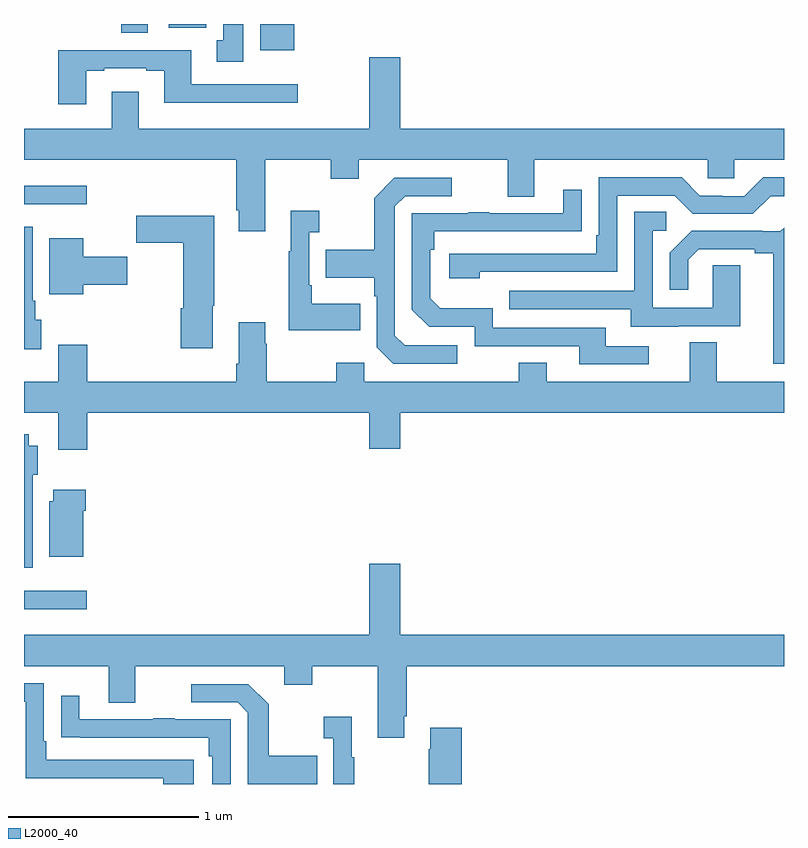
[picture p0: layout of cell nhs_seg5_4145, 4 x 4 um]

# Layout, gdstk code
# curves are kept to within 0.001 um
import gdstk
lib = gdstk.Library(unit=1e-6, precision=1e-09)
def R(c, l, rs):  # rectangles x0, y0, x1, y1
    for r in rs: c.add(gdstk.rectangle(r[:2], r[2:], *l))
def P(c, l, *ps):  # polygons
    for p in ps: c.add(gdstk.Polygon(p, *l))
L2000_40 = (2000, 40)

nhs_seg5_4145 = lib.new_cell('nhs_seg5_4145')
R(nhs_seg5_4145, L2000_40, [(355,863.72,355.33,863.817), (355,865.851,355.33,865.948), (356.243,866.66,356.422,866.799), (355.511,866.753,355.651,866.799), (355.763,866.78,355.96,866.799)])
P(nhs_seg5_4145, L2000_40, [(356.155,866.799),(356.048,866.799),(356.048,866.714),(356.015,866.714),(356.015,866.601),(356.155,866.601)],
  [(355.327,866.553),(355.423,866.553),(355.423,866.565),(355.643,866.565),(355.643,866.553),(355.739,866.553),(355.739,866.384),(356.44,866.384),(356.44,866.481),(355.879,866.481),(355.879,866.661),(355.419,866.661),(355.419,866.662),(355.18,866.662),(355.18,866.376),(355.327,866.376)],
  [(356.269,866.084),(356.614,866.084),(356.614,865.985),(356.761,865.985),(356.761,866.084),(357.545,866.084),(357.545,865.89),(357.685,865.89),(357.685,866.084),(358.599,866.084),(358.599,865.986),(358.737,865.986),(358.737,866.084),(359,866.084),(359,866.248),(356.98,866.248),(356.98,866.623),(356.816,866.623),(356.816,866.248),(355.603,866.248),(355.603,866.443),(355.463,866.443),(355.463,866.248),(355,866.248),(355,866.084),(356.117,866.084),(356.117,865.819),(356.129,865.819),(356.129,865.707),(356.269,865.707)],
  [(357.398,865.494),(358.122,865.494),(358.122,865.896),(358.425,865.896),(358.521,865.8),(358.836,865.8),(358.929,865.893),(359,865.893),(359,865.993),(358.891,865.993),(358.791,865.893),(358.676,865.893),(358.676,865.896),(358.557,865.896),(358.461,865.992),(358.026,865.992),(358.026,865.687),(358.013,865.687),(358.013,865.59),(357.237,865.59),(357.237,865.46),(357.398,865.46)],
  [(357.28,865.107),(357.003,865.107),(356.952,865.158),(356.952,865.839),(357.006,865.893),(357.25,865.893),(357.25,865.989),(356.949,865.989),(356.844,865.883),(356.844,865.611),(356.587,865.611),(356.587,865.463),(356.844,865.463),(356.844,865.367),(356.856,865.367),(356.856,865.098),(356.943,865.011),(357.28,865.011)],
  [(358.288,865.104),(358.063,865.104),(358.063,865.2),(357.468,865.2),(357.468,865.303),(357.191,865.303),(357.138,865.356),(357.138,865.61),(357.158,865.61),(357.158,865.707),(357.935,865.708),(357.935,865.927),(357.839,865.927),(357.839,865.803),(357.449,865.803),(357.449,865.808),(357.337,865.808),(357.337,865.803),(357.042,865.803),(357.042,865.296),(357.132,865.206),(357.372,865.206),(357.372,865.104),(357.923,865.104),(357.923,865.008),(358.288,865.008)],
  [(356.771,865.327),(356.515,865.327),(356.515,865.423),(356.502,865.423),(356.502,865.703),(356.554,865.703),(356.554,865.816),(356.405,865.816),(356.405,865.603),(356.394,865.603),(356.394,865.187),(356.771,865.187)],
  [(358.447,865.209),(358.771,865.209),(358.771,865.529),(358.626,865.529),(358.626,865.305),(358.308,865.305),(358.308,865.71),(358.381,865.71),(358.381,865.811),(358.212,865.811),(358.212,865.395),(357.553,865.395),(357.553,865.299),(358.193,865.299),(358.193,865.205),(358.447,865.205)],
  [(355.993,865.315),(356.001,865.315),(356.001,865.791),(355.59,865.791),(355.59,865.649),(355.838,865.649),(355.838,865.304),(355.826,865.304),(355.826,865.092),(355.993,865.092)],
  [(355.09,865.242),(355.06,865.242),(355.06,865.342),(355.045,865.342),(355.045,865.732),(355,865.732),(355,865.088),(355.09,865.088)],
  [(359,865.727),(358.98,865.707),(358.886,865.707),(358.886,865.71),(358.514,865.71),(358.398,865.594),(358.398,865.401),(358.495,865.401),(358.495,865.557),(358.552,865.614),(358.847,865.614),(358.847,865.592),(358.943,865.592),(358.943,865.011),(359,865.011)],
  [(355.312,865.427),(355.543,865.427),(355.543,865.574),(355.312,865.574),(355.312,865.672),(355.133,865.672),(355.133,865.376),(355.312,865.376)],
  [(358.505,865.124),(358.505,864.916),(357.751,864.916),(357.751,865.015),(357.604,865.015),(357.604,864.916),(356.79,864.916),(356.79,865.015),(356.644,865.015),(356.644,864.916),(356.277,864.916),(356.277,865.115),(356.269,865.115),(356.269,865.228),(356.129,865.228),(356.129,865.012),(356.117,865.012),(356.117,864.916),(355.334,864.916),(355.334,865.111),(355.181,865.111),(355.181,864.916),(355,864.916),(355,864.752),(355.181,864.752),(355.181,864.558),(355.334,864.558),(355.334,864.752),(356.816,864.752),(356.816,864.564),(356.98,864.564),(356.98,864.752),(359,864.752),(359,864.916),(358.645,864.916),(358.645,865.124)],
  [(355.045,864.426),(355.072,864.426),(355.072,864.58),(355.024,864.58),(355.024,864.64),(355,864.64),(355,863.937),(355.045,863.937)],
  [(355.312,864.236),(355.325,864.236),(355.325,864.349),(355.154,864.349),(355.154,864.288),(355.133,864.288),(355.133,863.996),(355.312,863.996)],
  [(357.001,863.155),(357.014,863.155),(357.014,863.42),(359,863.42),(359,863.584),(356.98,863.584),(356.98,863.959),(356.816,863.959),(356.816,863.584),(355,863.584),(355,863.42),(355.445,863.42),(355.445,863.226),(355.585,863.226),(355.585,863.42),(356.369,863.42),(356.369,863.321),(356.517,863.321),(356.517,863.42),(356.861,863.42),(356.861,863.043),(357.001,863.043)],
  [(355.894,862.926),(355.117,862.926),(355.117,863.023),(355.104,863.023),(355.104,863.328),(355,863.328),(355,863.232),(355.008,863.232),(355.008,862.83),(355.733,862.83),(355.733,862.799),(355.894,862.799)],
  [(356.543,862.947),(356.287,862.947),(356.287,863.219),(356.181,863.325),(355.881,863.325),(355.881,863.229),(356.124,863.229),(356.178,863.175),(356.178,862.799),(356.543,862.799)],
  [(356.088,863.139),(355.793,863.139),(355.793,863.144),(355.681,863.144),(355.681,863.139),(355.291,863.139),(355.291,863.263),(355.195,863.263),(355.195,863.044),(355.297,863.044),(355.297,863.043),(355.972,863.043),(355.972,862.946),(355.992,862.946),(355.992,862.799),(356.088,862.799)],
  [(356.737,862.939),(356.725,862.939),(356.725,863.152),(356.577,863.152),(356.577,863.039),(356.628,863.039),(356.628,862.799),(356.737,862.799)],
  [(357.305,863.095),(357.137,863.095),(357.137,862.982),(357.13,862.982),(357.13,862.799),(357.305,862.799)])

lib.write_gds('nhs_seg5_4145.gds')
